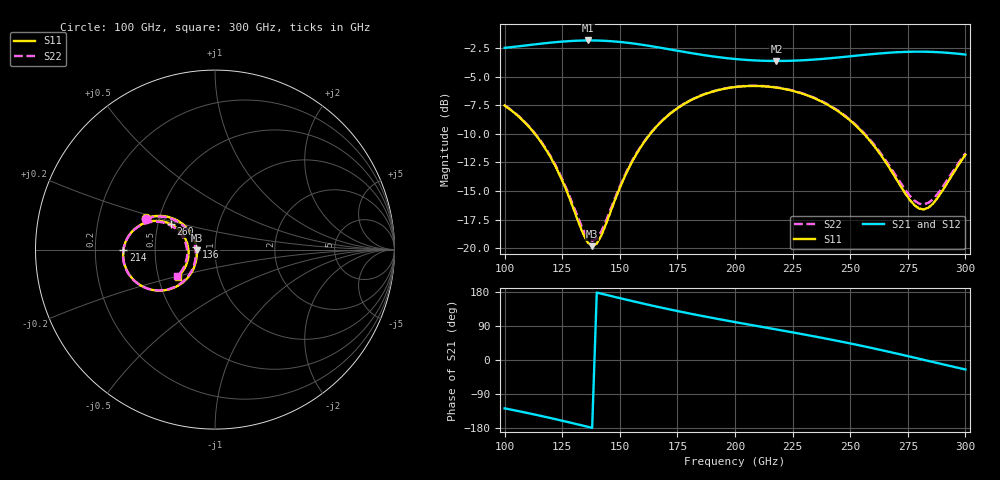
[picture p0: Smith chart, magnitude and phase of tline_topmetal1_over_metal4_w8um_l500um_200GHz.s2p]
#  GHZ S DB R 50
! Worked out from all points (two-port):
!   101 points, 100 GHz to 300 GHz, reference 50 ohm
!   highest |S21| = -1.81 dB at 136 GHz (marker M1); lowest = -3.6 dB at 218 GHz (marker M2)
!   |S21| within 3 dB of the highest: start of sweep to end of sweep
!   lowest |S11| = -19.8 dB at 138 GHz (marker M3), VSWR 1.23, Z = 40.8 - j0.38 ohm
!   |S11| at or under -10 dB: 113.2 GHz to 163.2 GHz (50.07 GHz wide, 36.2 % of centre); 256 GHz to end of sweep
!   |S22| runs from -19.4 to -5.8 dB; largest |S21 - S12| = 7.6e-14
!   S11 on the Smith chart (normalised r, x): 100 GHz: 0.42, +0.18; 136 GHz: 0.81, +0.03; 214 GHz: 0.32, -0.00; 260 GHz: 0.59, +0.18; 300 GHz: 0.63, -0.20
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100  -7.51 155.4  -2.46 -127.6  -2.46 -127.6  -7.49 156.1
110  -9.25 147.2  -2.23 -140.0  -2.23 -140.0  -9.21 148.1
118  -11.38 142.4  -2.04 -150.5  -2.04 -150.5  -11.31 143.6
126  -14.55 143.0  -1.89 -161.7  -1.89 -161.7  -14.40 144.5
134  -18.71 160.9  -1.82 -173.2  -1.82 -173.2  -18.34 162.3
136  -19.49 170.8  -1.81 -176.2  -1.81 -176.2  -19.06 171.7
138  -19.83 -177.4  -1.81 -179.1  -1.81 -179.1  -19.37 -177.3
142  -18.89 -155.1  -1.83 175.0  -1.83 175.0  -18.53 -156.1
156  -12.19 -134.2  -2.08 154.7  -2.08 154.7  -12.12 -135.0
168  -8.92 -140.8  -2.46 138.2  -2.46 138.2  -8.89 -141.2
182  -6.93 -152.6  -2.95 120.7  -2.95 120.7  -6.91 -152.7
200  -5.89 -168.1  -3.43 100.1  -3.43 100.1  -5.87 -168.0
214  -5.85 -179.7  -3.60 84.9  -3.60 84.9  -5.83 -179.4
218  -5.94 177.0  -3.61 80.5  -3.61 80.5  -5.92 177.4
234  -6.83 164.5  -3.49 62.8  -3.49 62.8  -6.79 165.2
248  -8.50 154.8  -3.24 46.2  -3.24 46.2  -8.44 155.8
260  -10.95 150.1  -3.00 30.8  -3.00 30.8  -10.84 151.4
268  -13.29 152.5  -2.87 20.0  -2.87 20.0  -13.09 154.0
276  -15.81 165.6  -2.80 8.8  -2.80 8.8  -15.44 166.9
282  -16.61 -175.4  -2.80 0.3  -2.80 0.3  -16.17 -175.3
288  -15.59 -157.3  -2.84 -8.2  -2.84 -8.2  -15.24 -158.2
300  -11.83 -144.0  -3.04 -25.0  -3.04 -25.0  -11.68 -145.0
